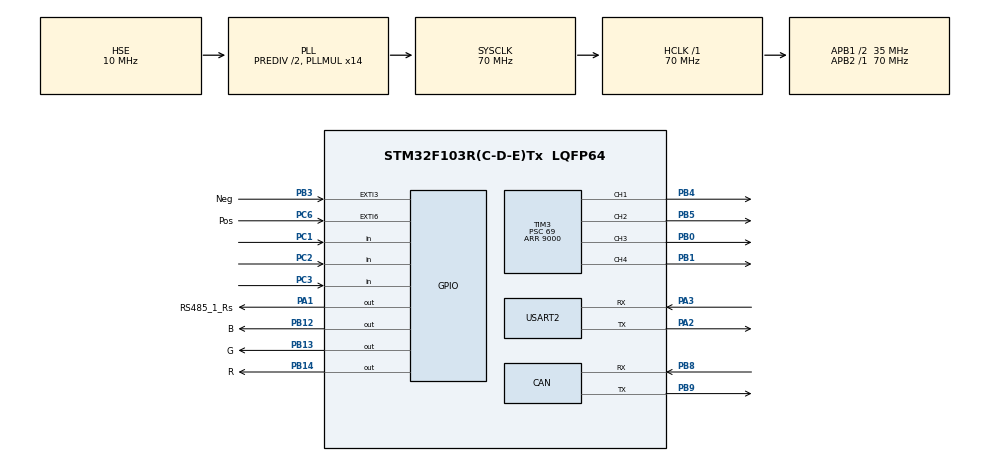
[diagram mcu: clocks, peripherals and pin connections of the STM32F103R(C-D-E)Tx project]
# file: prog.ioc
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CAN.CalculateTimeBit=1371
CAN.CalculateTimeQuantum=457.14285714285717
FREERTOS.Tasks01=defaultTask,0,128,StartDefaultTask,Default,NULL,Dynamic,NULL,NULL
Mcu.Family=STM32F1
Mcu.Name=STM32F103R(C-D-E)Tx
Mcu.Package=LQFP64
NVIC.EXTI3_IRQn=true\:5\:0\:false\:false\:true\:true\:true\:true
NVIC.EXTI9_5_IRQn=true\:5\:0\:false\:false\:true\:true\:true\:true
NVIC.PriorityGroup=NVIC_PRIORITYGROUP_4
NVIC.TIM2_IRQn=true\:5\:0\:false\:false\:true\:true\:true\:true
NVIC.TIM3_IRQn=true\:5\:0\:false\:false\:true\:true\:true\:true
NVIC.TIM7_IRQn=true\:0\:0\:false\:false\:true\:false\:false\:true
NVIC.TimeBase=TIM7_IRQn
NVIC.TimeBaseIP=TIM7
NVIC.USART2_IRQn=true\:5\:0\:false\:false\:true\:true\:true\:true
PA1.GPIO_Label=RS485_1_Rs
PA1.GPIO_Speed=GPIO_SPEED_FREQ_HIGH
PA1.Signal=GPIO_Output
PA13.Mode=Serial_Wire
PA13.Signal=SYS_JTMS-SWDIO
PA14.Mode=Serial_Wire
PA14.Signal=SYS_JTCK-SWCLK
PA2.Mode=Asynchronous
PA2.Signal=USART2_TX
PA3.Mode=Asynchronous
PA3.Signal=USART2_RX
PB0.Signal=S_TIM3_CH3
PB1.Signal=S_TIM3_CH4
PB12.GPIO_Label=B
PB12.GPIO_Speed=GPIO_SPEED_FREQ_LOW
PB12.PinState=GPIO_PIN_SET
PB12.Signal=GPIO_Output
PB13.GPIO_Label=G
PB13.GPIO_Speed=GPIO_SPEED_FREQ_LOW
PB13.PinState=GPIO_PIN_SET
PB13.Signal=GPIO_Output
PB14.GPIO_Label=R
PB14.GPIO_Speed=GPIO_SPEED_FREQ_LOW
PB14.PinState=GPIO_PIN_SET
PB14.Signal=GPIO_Output
PB3.GPIO_Label=Neg
PB3.GPIO_ModeDefaultEXTI=GPIO_MODE_IT_FALLING
PB3.Signal=GPXTI3
PB4.Signal=S_TIM3_CH1
PB5.Signal=S_TIM3_CH2
PB8.Mode=Master
PB8.Signal=CAN_RX
PB9.Mode=Master
PB9.Signal=CAN_TX
PC1.Signal=GPIO_Input
PC2.Signal=GPIO_Input
PC3.Signal=GPIO_Input
PC6.GPIO_Label=Pos
PC6.GPIO_ModeDefaultEXTI=GPIO_MODE_IT_FALLING
PC6.GPIO_PuPd=GPIO_PULLUP
PC6.Signal=GPXTI6
PD0-OSC_IN.Mode=HSE-External-Oscillator
PD0-OSC_IN.Signal=RCC_OSC_IN
PD1-OSC_OUT.Mode=HSE-External-Oscillator
PD1-OSC_OUT.Signal=RCC_OSC_OUT
ProjectManager.HeapSize=0x200
ProjectManager.StackSize=0x400
ProjectManager.TargetToolchain=MDK-ARM V5.27
RCC.AHBFreq_Value=70000000
RCC.APB1CLKDivider=RCC_HCLK_DIV2
RCC.APB1Freq_Value=35000000
RCC.APB1TimFreq_Value=70000000
RCC.APB2Freq_Value=70000000
RCC.APB2TimFreq_Value=70000000
RCC.HCLKFreq_Value=70000000
RCC.HSEDivPLL=RCC_HSE_PREDIV_DIV2
RCC.HSE_VALUE=10000000
RCC.PLLMUL=RCC_PLL_MUL14
RCC.PLLSourceVirtual=RCC_PLLSOURCE_HSE
RCC.SYSCLKFreq_VALUE=70000000
RCC.SYSCLKSource=RCC_SYSCLKSOURCE_PLLCLK
RCC.USBFreq_Value=70000000
SH.S_TIM3_CH1.0=TIM3_CH1,PWM Generation1 CH1
SH.S_TIM3_CH2.0=TIM3_CH2,PWM Generation2 CH2
SH.S_TIM3_CH3.0=TIM3_CH3,PWM Generation3 CH3
SH.S_TIM3_CH4.0=TIM3_CH4,PWM Generation4 CH4
TIM3.Channel-PWM\ Generation1\ CH1=TIM_CHANNEL_1
TIM3.Channel-PWM\ Generation2\ CH2=TIM_CHANNEL_2
TIM3.Channel-PWM\ Generation3\ CH3=TIM_CHANNEL_3
TIM3.Channel-PWM\ Generation4\ CH4=TIM_CHANNEL_4
TIM3.OCMode_PWM-PWM\ Generation1\ CH1=TIM_OCMODE_PWM2
TIM3.OCMode_PWM-PWM\ Generation2\ CH2=TIM_OCMODE_PWM2
TIM3.OCMode_PWM-PWM\ Generation3\ CH3=TIM_OCMODE_PWM2
TIM3.OCMode_PWM-PWM\ Generation4\ CH4=TIM_OCMODE_PWM2
TIM3.OCPolarity_1=TIM_OCPOLARITY_HIGH
TIM3.OCPolarity_2=TIM_OCPOLARITY_HIGH
TIM3.OCPolarity_3=TIM_OCPOLARITY_HIGH
TIM3.OCPolarity_4=TIM_OCPOLARITY_HIGH
TIM3.Period=9000
TIM3.Prescaler=69
USART2.VirtualMode=VM_ASYNC
VP_FREERTOS_VS_CMSIS_V1.Mode=CMSIS_V1
VP_SYS_VS_tim7.Mode=TIM7
VP_TIM2_VS_ClockSourceINT.Mode=Internal
VP_TIM3_VS_ClockSourceINT.Mode=Internal
VP_TIM3_VS_OPM.Mode=OPM_bit
board=custom

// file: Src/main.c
/* USER CODE BEGIN Header */
/**
  ******************************************************************************
  * @file           : main.c
  * @brief          : Main program body
  ******************************************************************************
  * @attention
  *
  * <h2><center>&copy; Copyright (c) 2020 STMicroelectronics.
  * All rights reserved.</center></h2>
  *
  * This software component is licensed by ST under Ultimate Liberty license
  * SLA0044, the "License"; You may not use this file except in compliance with
  * the License. You may obtain a copy of the License at:
  *                             www.st.com/SLA0044
  *
  ******************************************************************************
  */
/* USER CODE END Header */

#include "main.h"
#include "cmsis_os.h"
#include "can.h"
#include "tim.h"
#include "usart.h"
#include "gpio.h"

/* USER CODE BEGIN PV */
settings_t Settings;
uint16_t half = 1;
/* USER CODE END PV */

void SystemClock_Config(void);
void MX_FREERTOS_Init(void);

int main(void)
{

  /* MCU Configuration--------------------------------------------------------*/

  /* Reset of all peripherals, Initializes the Flash interface and the Systick. */
  HAL_Init();

  /* Configure the system clock */
  SystemClock_Config();

  /* Initialize all configured peripherals */
  MX_GPIO_Init();
  MX_CAN_Init();
  MX_TIM3_Init();
  MX_USART2_UART_Init();
  MX_TIM2_Init();
  /* USER CODE BEGIN 2 */
	Flash_ReadParams(&Settings, StartSettingsAddres);

	// предварительно выключаем каналы
	__HAL_TIM_SET_COMPARE(&htim3, TIM_CHANNEL_1, 9000);
	__HAL_TIM_SET_COMPARE(&htim3, TIM_CHANNEL_2, 9000);
	__HAL_TIM_SET_COMPARE(&htim3, TIM_CHANNEL_3, 9000);
	__HAL_TIM_SET_COMPARE(&htim3, TIM_CHANNEL_4, 9000);
// если настройки пусты
	if((Settings.BaudRate == 0) | (Settings.BaudRate == 0xFFFFFFFF))
	{
		Settings.Ch1 = 0;
		Settings.Ch1_DIM = 0;
		Settings.Ch2 = 0;
		Settings.Ch2_DIM = 0;
		Settings.Ch3 = 0;
		Settings.Ch3_DIM = 0;
		Settings.Ch4 = 0;
		Settings.Ch4_DIM = 0;
		Settings.BaudRate = 115200;
		Settings.SlaveAddress = 0x0C;
		FLASH_WriteSettings(Settings, StartSettingsAddres);
	}
  /* USER CODE END 2 */

  /* Call init function for freertos objects (in freertos.c) */
  MX_FREERTOS_Init();
  /* Start scheduler */
  osKernelStart();

  /* We should never get here as control is now taken by the scheduler */
  /* Infinite loop */
  while (1)
  {

  }
}

void SystemClock_Config(void)
{
  RCC_OscInitTypeDef RCC_OscInitStruct = {0};
  RCC_ClkInitTypeDef RCC_ClkInitStruct = {0};

  /** Initializes the CPU, AHB and APB busses clocks
  */
  RCC_OscInitStruct.OscillatorType = RCC_OSCILLATORTYPE_HSE;
  RCC_OscInitStruct.HSEState = RCC_HSE_ON;
  RCC_OscInitStruct.HSEPredivValue = RCC_HSE_PREDIV_DIV2;
  RCC_OscInitStruct.HSIState = RCC_HSI_ON;
  RCC_OscInitStruct.PLL.PLLState = RCC_PLL_ON;
  RCC_OscInitStruct.PLL.PLLSource = RCC_PLLSOURCE_HSE;
  RCC_OscInitStruct.PLL.PLLMUL = RCC_PLL_MUL14;
  if (HAL_RCC_OscConfig(&RCC_OscInitStruct) != HAL_OK)
  {
    Error_Handler();
  }
  /** Initializes the CPU, AHB and APB busses clocks
  */
  RCC_ClkInitStruct.ClockType = RCC_CLOCKTYPE_HCLK|RCC_CLOCKTYPE_SYSCLK
                              |RCC_CLOCKTYPE_PCLK1|RCC_CLOCKTYPE_PCLK2;
  RCC_ClkInitStruct.SYSCLKSource = RCC_SYSCLKSOURCE_PLLCLK;
  RCC_ClkInitStruct.AHBCLKDivider = RCC_SYSCLK_DIV1;
  RCC_ClkInitStruct.APB1CLKDivider = RCC_HCLK_DIV2;
  RCC_ClkInitStruct.APB2CLKDivider = RCC_HCLK_DIV1;

  if (HAL_RCC_ClockConfig(&RCC_ClkInitStruct, FLASH_LATENCY_2) != HAL_OK)
  {
    Error_Handler();
  }
}

/* USER CODE BEGIN 4 */

void FLASH_WriteSettings(settings_t params, uint32_t pageAdr) {

	uint8_t i;

	// Опеределим, сколько блоков памяти у нас определено под параметры
	// Это необходимо для определения количества циклов чтения/записи параметров
	uint32_t PARAMS_WORD_CNT =	sizeof(settings_t) / sizeof(uint32_t); // Расчитывается исходя из размера структуры в памяти МК деленного на размер блока (4 байта)

	uint32_t *source_adr = (void *)&params;

	flash_unlock();                                                                 // Разблокируем память для записи
	flash_erase_page(pageAdr);                                                       // Очистим страницу памяти параметров №0

	for (i = 0; i < PARAMS_WORD_CNT; ++i) {
                flash_write((uint32_t)(pageAdr + i*4), *(source_adr + i));        // Запишем новое значение памяти
        }

	flash_lock();                                                                   // Заблокируем Flash

}
void Flash_ReadParams(settings_t *params, uint32_t adr) {

	uint32_t *dest_adr = (void *)params;
	uint32_t *source_adr = (uint32_t *)adr;
	// Определяем адрес, куда будем писать
	// Опеределим, сколько блоков памяти у нас определено под параметры
	// Это необходимо для определения количества циклов чтения/записи параметров
	uint32_t PARAMS_WORD_CNT =	sizeof(settings_t) / sizeof(uint32_t); // Расчитывается исходя из размера структуры в памяти МК деленного на размер блока (4 байта)

	for (uint16_t i=0; i < PARAMS_WORD_CNT; ++i) {                                  // В цикле производим чтение
		*(dest_adr + i) = *(__IO uint32_t*)(source_adr + i);                    // Само чтение
	}
}

uint8_t flash_ready(void) {
	return !(FLASH->SR & FLASH_SR_BSY);
}

//void flash_erase_all_pages(void) {
//    FLASH->CR |= FLASH_CR_MER;
//    FLASH->CR |= FLASH_CR_STRT;
//    while(!flash_ready())
//    	;
//    FLASH->CR &= FLASH_CR_MER;
//}

void flash_erase_page(uint32_t address) {
    FLASH->CR|= FLASH_CR_PER;
    FLASH->AR = address;
    FLASH->CR|= FLASH_CR_STRT;
    while(!flash_ready())
    	;
    FLASH->CR&= ~FLASH_CR_PER;
}

void flash_unlock(void) {
	  FLASH->KEYR = FLASH_KEY1;
	  FLASH->KEYR = FLASH_KEY2;
}

void flash_lock(void) {
	FLASH->CR |= FLASH_CR_LOCK;
}

void flash_write(uint32_t address,uint32_t data) {

	FLASH->CR |= FLASH_CR_PG;
	while(!flash_ready())
		;
    *(__IO uint16_t*)address = (uint16_t)data;
	while(!flash_ready())
		;
	address+=2;
	data>>=16;
    *(__IO uint16_t*)address = (uint16_t)data;
	while(!flash_ready())
		;
    FLASH->CR &= ~(FLASH_CR_PG);
}

/* USER CODE END 4 */

 /**
  * @brief  Period elapsed callback in non blocking mode
  * @note   This function is called  when TIM7 interrupt took place, inside
  * HAL_TIM_IRQHandler(). It makes a direct call to HAL_IncTick() to increment
  * a global variable "uwTick" used as application time base.
  * @param  htim : TIM handle
  * @retval None
  */
void HAL_TIM_PeriodElapsedCallback(TIM_HandleTypeDef *htim)
{
  if (htim->Instance == TIM7) {
    HAL_IncTick();
  }
  /* USER CODE BEGIN Callback 1 */
//	if (htim->Instance == TIM5) {
//		time_1mS();
//	}
  /* USER CODE END Callback 1 */
}

void Error_Handler(void)
{
}

/************************ (C) COPYRIGHT STMicroelectronics *****END OF FILE****/

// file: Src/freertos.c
/* USER CODE BEGIN Header */
/**
  ******************************************************************************
  * File Name          : freertos.c
  * Description        : Code for freertos applications
  ******************************************************************************
  * @attention
  *
  * <h2><center>&copy; Copyright (c) 2020 STMicroelectronics.
  * All rights reserved.</center></h2>
  *
  * This software component is licensed by ST under Ultimate Liberty license
  * SLA0044, the "License"; You may not use this file except in compliance with
  * the License. You may obtain a copy of the License at:
  *                             www.st.com/SLA0044
  *
  ******************************************************************************
  */
/* USER CODE END Header */

#include "FreeRTOS.h"
#include "task.h"
#include "main.h"
#include "cmsis_os.h"

/* USER CODE BEGIN Includes */
#include "mb.h"
#include "mbport.h"

/* USER CODE END Includes */

/* USER CODE BEGIN Variables */
extern settings_t Settings;
extern uint16_t half;
extern TIM_HandleTypeDef htim3;

									//Status,	CMD,	Mode,				time_mS,	Start_time_mS
motor_t Out[4] = {{Off,			Off,	On_Off,			0,				0},
									{Off,			Off,	On_Off,			0,				0},
									{Off,			Off,	On_Off,			0,				0},
									{Off,			Off,	On_Off,			0,				0}};

/* USER CODE END Variables */
osThreadId defaultTaskHandle;

/* USER CODE BEGIN FunctionPrototypes */
double map(double x, double in_min, double in_max, double out_min, double out_max);

/* USER CODE END FunctionPrototypes */

void StartDefaultTask(void const * argument);

void MX_FREERTOS_Init(void); /* (MISRA C 2004 rule 8.1) */

/* GetIdleTaskMemory prototype (linked to static allocation support) */
void vApplicationGetIdleTaskMemory( StaticTask_t **ppxIdleTaskTCBBuffer, StackType_t **ppxIdleTaskStackBuffer, uint32_t *pulIdleTaskStackSize );

/* USER CODE BEGIN GET_IDLE_TASK_MEMORY */
static StaticTask_t xIdleTaskTCBBuffer;
static StackType_t xIdleStack[configMINIMAL_STACK_SIZE];

void vApplicationGetIdleTaskMemory( StaticTask_t **ppxIdleTaskTCBBuffer, StackType_t **ppxIdleTaskStackBuffer, uint32_t *pulIdleTaskStackSize )
{
  *ppxIdleTaskTCBBuffer = &xIdleTaskTCBBuffer;
  *ppxIdleTaskStackBuffer = &xIdleStack[0];
  *pulIdleTaskStackSize = configMINIMAL_STACK_SIZE;
  /* place for user code */
}
/* USER CODE END GET_IDLE_TASK_MEMORY */

void MX_FREERTOS_Init(void) {

  /* Create the thread(s) */
  /* definition and creation of defaultTask */
  osThreadDef(defaultTask, StartDefaultTask, osPriorityNormal, 0, 128);
  defaultTaskHandle = osThreadCreate(osThread(defaultTask), NULL);

}

void StartDefaultTask(void const * argument)
{
  /* USER CODE BEGIN StartDefaultTask */

  eMBErrorCode eStatus = eMBInit( MB_RTU, Settings.SlaveAddress, 3, Settings.BaudRate, MB_PAR_NONE );
  eStatus = eMBEnable();
	HAL_TIM_Base_Start_IT(&htim3);
  /* Infinite loop */
  for(;;)
  {
    eStatus = eMBPoll();
    osDelay(1);
  }
  /* USER CODE END StartDefaultTask */
}

/* USER CODE BEGIN Application */
// В этой функции производится обнуление таймера для синхронизации с сетью и выключение симисторов
void HAL_GPIO_EXTI_Callback(uint16_t GPIO_Pin)
{
	if(half == 1){

		if(GPIO_Pin == Pos_Pin){
				__disable_irq ();

						HAL_TIM_PWM_Start(&htim3, TIM_CHANNEL_1);
						HAL_TIM_PWM_Start(&htim3, TIM_CHANNEL_2);
						HAL_TIM_PWM_Start(&htim3, TIM_CHANNEL_3);
						HAL_TIM_PWM_Start(&htim3, TIM_CHANNEL_4);

			__enable_irq ();
		}
	}else{
		__disable_irq ();

					HAL_TIM_PWM_Start(&htim3, TIM_CHANNEL_1);
					HAL_TIM_PWM_Start(&htim3, TIM_CHANNEL_2);
					HAL_TIM_PWM_Start(&htim3, TIM_CHANNEL_3);
					HAL_TIM_PWM_Start(&htim3, TIM_CHANNEL_4);

		__enable_irq ();
	}

}

/*description https://www.freemodbus.org/api/group__modbus__registers.html*/
//0x04
eMBErrorCode
eMBRegInputCB( UCHAR * pucRegBuffer, USHORT usAddress, USHORT usNRegs )
{
    if(usAddress == 0 ){}
    else{usAddress--;}

    eMBErrorCode    eStatus = MB_ENOERR;
//    int             iRegIndex;

//    if( ( usAddress >= RECEIV_INPUT_START ) && ( usAddress + usNRegs >= RECEIV_INPUT_START + RECEIV_INPUT_NREGS ) )
//    {
//        iRegIndex = ( int )( usAddress - ReceivInputStart );
//
//        osMutexWait(mutex_modbusHandle, 10);
//        while( usNRegs > 0 )
//        {
//			// проверить правилность упаковки байтов
//            *pucRegBuffer++ = ( unsigned char )( ReceivInputBuf[iRegIndex] >> 8 );
//            *pucRegBuffer++ = ( unsigned char )( ReceivInputBuf[iRegIndex] & 0xFF );
//            iRegIndex++;
//            usNRegs--;
//        }
//        osMutexRelease(mutex_modbusHandle);
//	//HAL_GPIO_TogglePin(User_LED_GPIO_Port, User_LED_Pin);
//    }
//    else
    {
	//HAL_GPIO_TogglePin(User_LED_GPIO_Port, User_LED_Pin);
        eStatus = MB_ENOREG;
    }

    return eStatus;
}
//0x03 0x06 0x10
eMBErrorCode
eMBRegHoldingCB( UCHAR * pucRegBuffer, USHORT usAddress, USHORT usNRegs, eMBRegisterMode eMode )
{
    //uint8_t CMD[5] = {0};
    volatile HAL_StatusTypeDef status;

    if(usAddress == 0 ){}
    else{usAddress--;}

    eMBErrorCode    eStatus = MB_ENOERR;

    // переключатель чтение запись
    switch (eMode)
    {
      case MB_REG_READ:
      {
        break;
      }
      case MB_REG_WRITE:
      {
        //переключатель по адресам регистра
        switch (usAddress)
        {
          case 0: // канал CH1
          {
						uint32_t dimTik = (uint32_t)map(*(pucRegBuffer+1), 0x00, 0x64, 9000, 0);
						__HAL_TIM_SET_COMPARE(&htim3, TIM_CHANNEL_1, dimTik);

            break;
          }
          case 1: // канал CH2
          {
						uint32_t dimTik = (uint32_t)map(*(pucRegBuffer+1), 0x00, 0x64, 9000, 0);
						__HAL_TIM_SET_COMPARE(&htim3, TIM_CHANNEL_2, dimTik);

            break;
          }
					case 2: // канал CH3
          {
						uint32_t dimTik = (uint32_t)map(*(pucRegBuffer+1), 0x00, 0x64, 9000, 0);
						__HAL_TIM_SET_COMPARE(&htim3, TIM_CHANNEL_3, dimTik);
            break;
          }
          case 3: // канал CH4
          {
						uint32_t dimTik = (uint32_t)map(*(pucRegBuffer+1), 0x00, 0x64, 9000, 0);
						__HAL_TIM_SET_COMPARE(&htim3, TIM_CHANNEL_4, dimTik);
            break;
          }
					case 4: //
          {

            break;
          }
          case 5: //
          {
            break;
          }
					case 6: //
          {

            break;
          }
          case 7: //
          {
            break;
          }
          case 8:
          {
						FLASH_WriteSettings(Settings, StartSettingsAddres);
            break;
          }
          case 9:
          {
						Settings.BaudRate = ((*(pucRegBuffer)<<8) | (*(pucRegBuffer+1)))*10;
            break;
          }
          case 10:
          {
						Settings.SlaveAddress = *(pucRegBuffer+1);
            break;
          }
//          case 11:
//          {
//            break;
//          }
//          case 12:
//          {
//            break;
//          }
//          case 13:
//          {
//            break;
//          }
//          case 14:
//          {
//            break;
//          }
//          case 15:
//          {
//            break;
//          }
//          case 16:
//          {
//            break;
//          }

          default:
          {
            eStatus = MB_ENOREG;
            break;
          }
        }

        break;
      }
      default:
      {
        eStatus = MB_EINVAL;
        break;
      }
    }

    return eStatus;
}

// 0x01 0x0f 0x05
eMBErrorCode
eMBRegCoilsCB( UCHAR * pucRegBuffer, USHORT usAddress, USHORT usNCoils, eMBRegisterMode eMode )
{
    if(usAddress == 0 ){}
    else{usAddress--;}

    return MB_ENOREG;
}
//0x02
eMBErrorCode
eMBRegDiscreteCB( UCHAR * pucRegBuffer, USHORT usAddress, USHORT usNDiscrete )
{
    if(usAddress == 0 ){}
    else{usAddress--;}

    return MB_ENOREG;
}

double map(double x, double in_min, double in_max, double out_min, double out_max)
{
  return (x - in_min) * (out_max - out_min) / (in_max - in_min) + out_min;
}

/* USER CODE END Application */

/************************ (C) COPYRIGHT STMicroelectronics *****END OF FILE****/
